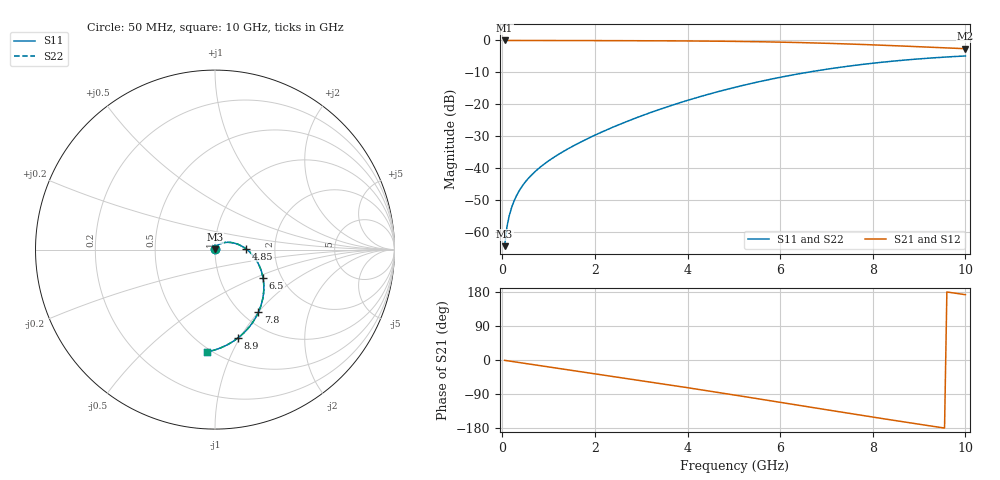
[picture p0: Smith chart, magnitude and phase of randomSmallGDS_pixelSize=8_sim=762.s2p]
! freq	dB(S11)	phase(S11)	dB(S12)	phase(S12)
!  dB(S21)	phase(S21)	dB(S22)	phase(S22)
!S-par simulation data
#  GHz  S  DB  R 50
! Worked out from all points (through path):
!   200 points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, 50 MHz to 10 GHz, reference 50 ohm
!   highest |S21| = 0.00 dB at 50 MHz (marker M1); lowest = -2.6 dB at 10 GHz (marker M2)
!   group delay of S21, straight-line fit = 52.7 ps
!   lowest |S11| = -64.4 dB at 50 MHz (marker M3), VSWR 1.00, Z = 50 + j0.0602 ohm
!   |S11| at or under -10 dB: start of sweep to 6.577 GHz
!   |S22| runs from -64.4 to -4.9 dB; largest |S21 - S12| = 0
!   S11 on the Smith chart (normalised r, x): 50 MHz: 1.00, +0.00; 4.85 GHz: 1.41, +0.01; 6.5 GHz: 1.61, -0.56; 7.8 GHz: 1.18, -1.00; 8.9 GHz: 0.74, -0.98; 10 GHz: 0.47, -0.80
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0.05  -64.37 84.9  -0.00 -0.9  -0.00 -0.9  -64.37 84.9
0.1  -58.37 86.0  -0.00 -1.8  -0.00 -1.8  -58.37 86.0
0.15  -54.84 85.8  -0.00 -2.7  -0.00 -2.7  -54.84 85.8
0.2  -52.33 85.3  -0.00 -3.6  -0.00 -3.6  -52.33 85.3
0.3  -48.78 83.8  -0.01 -5.4  -0.01 -5.4  -48.78 83.8
0.45  -45.18 81.3  -0.01 -8.2  -0.01 -8.2  -45.18 81.3
0.65  -41.83 77.9  -0.01 -11.8  -0.01 -11.8  -41.83 77.9
0.95  -38.19 72.8  -0.02 -17.1  -0.02 -17.1  -38.19 72.9
1.75  -31.38 59.2  -0.04 -31.6  -0.04 -31.6  -31.38 59.2
2.6  -25.87 44.0  -0.06 -47.0  -0.06 -47.0  -25.87 44.0
3.4  -21.56 29.1  -0.10 -61.8  -0.10 -61.8  -21.56 29.2
4.15  -18.09 15.0  -0.17 -75.9  -0.17 -75.9  -18.09 15.0
4.85  -15.30 1.7  -0.26 -89.3  -0.26 -89.3  -15.30 1.7
5.05  -14.57 -2.2  -0.30 -93.1  -0.30 -93.1  -14.57 -2.2
5.75  -12.27 -15.7  -0.45 -106.7  -0.45 -106.7  -12.27 -15.7
6.5  -10.19 -30.2  -0.69 -121.4  -0.69 -121.4  -10.19 -30.2
6.7  -9.70 -34.1  -0.76 -125.3  -0.76 -125.3  -9.70 -34.1
7.25  -8.49 -44.7  -1.00 -136.1  -1.00 -136.1  -8.49 -44.7
7.8  -7.46 -55.1  -1.27 -146.8  -1.27 -146.8  -7.46 -55.1
8.35  -6.59 -65.4  -1.57 -157.3  -1.57 -157.3  -6.59 -65.3
8.9  -5.88 -75.4  -1.90 -167.6  -1.90 -167.6  -5.88 -75.3
10  -4.85 -94.6  -2.59 172.3  -2.59 172.3  -4.85 -94.5
